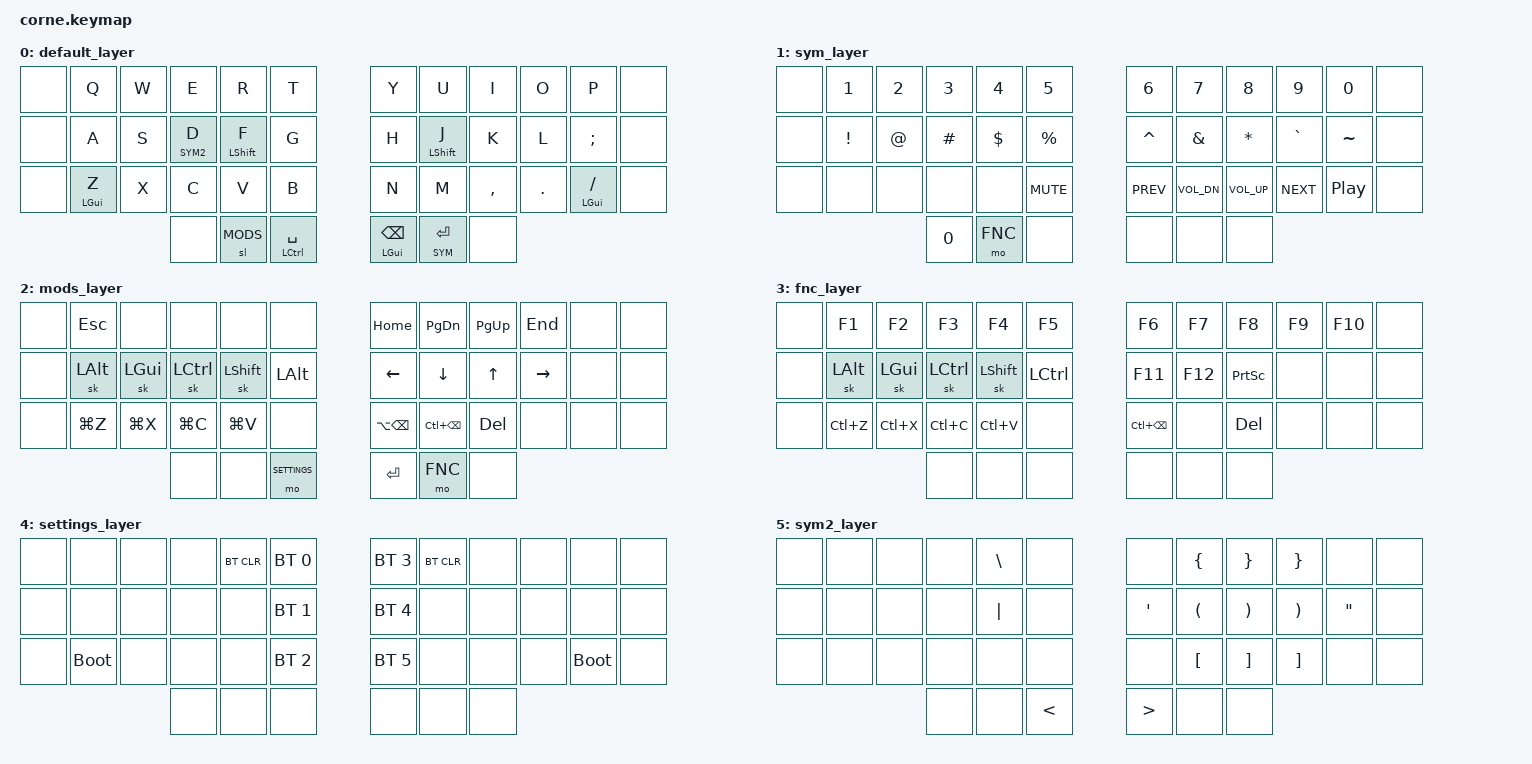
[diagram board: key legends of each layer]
/*
 * Copyright (c) 2020 The ZMK Contributors
 *
 * SPDX-License-Identifier: MIT
 */

#include <behaviors.dtsi>
#include <dt-bindings/zmk/keys.h>
#include <dt-bindings/zmk/bt.h>

#define COMBO(name, keypress, keypos) \
    combo_##name {                    \
        layers = <0>;                 \
        timeout-ms = <30>;            \
        bindings = <keypress>;        \
        key-positions = <keypos>;     \
    };

#define BASE 0
#define SYM 1
#define MODS 2
#define FNC 3
#define SETTINGS 4
#define SYM2 5

#define XXXXX &none
#define _____ &trans

#define TAPPING_TERM 210
#define QUICK_TAP    150

&mt {
  flavor = "balanced";
  tapping-term-ms = <TAPPING_TERM>;
  quick-tap-ms = <QUICK_TAP>;
};

&caps_word {
	continue-list = <UNDER MINUS BSPC RSHFT LSHFT>;
};

/ {        
        combos {
                compatible = "zmk,combos";

                COMBO(esc, &kp ESC, 1 2)
                COMBO(esc2, &kp ESC, 2 3)
                COMBO(tab, &kp TAB, 3 4)
                COMBO(caps, &caps_word, 13 14)
                COMBO(equal, &kp EQUAL, 15 16)
                COMBO(plus, &kp PLUS, 27 28)

                COMBO(under, &kp UNDER, 7 8)
                COMBO(minus, &kp MINUS, 8 9)
                COMBO(sqt, &kp SQT, 19 20)
                COMBO(dqt, &kp DQT, 20 21)
                COMBO(colon, &kp COLON, 31 32)
                COMBO(qmark, &kp QMARK, 32 33)
        };

        keymap {
                compatible = "zmk,keymap";

// Base alpha Layer
                default_layer {
                    bindings = <
XXXXX &kp Q      &kp W &kp E      &kp R        &kp T              &kp Y           &kp U         &kp I     &kp O   &kp P         XXXXX
XXXXX &kp A      &kp S &lt SYM2 D &mt LSHIFT F &kp G              &kp H           &mt LSHIFT J  &kp K     &kp L   &kp SEMI      XXXXX
XXXXX &mt LGUI Z &kp X &kp C      &kp V        &kp B              &kp N           &kp M         &kp COMMA &kp DOT &mt LGUI FSLH XXXXX
                       XXXXX      &sl MODS     &mt LCTRL SPACE    &mt LGUI BSPC &lt SYM ENTER XXXXX
                    >;
                };

// Numbers and high frequency symbols
                sym_layer {
                    bindings = <
XXXXX &kp N1   &kp N2 &kp N3   &kp N4   &kp N5        &kp N6     &kp N7       &kp N8       &kp N9     &kp N0    XXXXX
XXXXX &kp EXCL &kp AT &kp HASH &kp DLLR &kp PRCNT     &kp CARET  &kp AMPS     &kp STAR     &kp GRAVE  &kp TILDE XXXXX
XXXXX XXXXX    XXXXX  XXXXX    XXXXX    &kp C_MUTE    &kp C_PREV &kp C_VOL_DN &kp C_VOL_UP &kp C_NEXT &kp C_PP  XXXXX
                      &kp N0   &mo FNC  XXXXX         XXXXX      XXXXX        XXXXX
                    >;
                };

// Main modifiers and arrow keys and remaining symbols
		mods_layer {
		        bindings = <
XXXXX &kp ESC   XXXXX     XXXXX     XXXXX      XXXXX         &kp HOME     &kp PG_DN    &kp PG_UP &kp END   XXXXX XXXXX
XXXXX &sk LALT  &sk LGUI  &sk LCTRL &sk LSHIFT &kp LALT      &kp LEFT     &kp DOWN     &kp UP    &kp RIGHT XXXXX XXXXX
XXXXX &kp LG(Z) &kp LG(X) &kp LG(C) &kp LG(V)  XXXXX         &kp LA(BSPC) &kp LC(BSPC) &kp DEL   XXXXX     XXXXX XXXXX
                          XXXXX     XXXXX      &mo SETTINGS  &kp ENTER    &mo FNC      XXXXX
		        >;
		};

// Function keys with modifiers
       		fnc_layer {
		        bindings = <
XXXXX &kp F1    &kp F2    &kp F3    &kp F4     &kp F5         &kp F6       &kp F7   &kp F8          &kp F9 &kp F10 XXXXX
XXXXX &sk LALT  &sk LGUI  &sk LCTRL &sk LSHIFT &kp LCTRL      &kp F11      &kp F12  &kp PRINTSCREEN XXXXX  XXXXX   XXXXX
XXXXX &kp LC(Z) &kp LC(X) &kp LC(C) &kp LC(V)  XXXXX          &kp LC(BSPC) XXXXX    &kp DEL         XXXXX  XXXXX   XXXXX
                          XXXXX     XXXXX      XXXXX          XXXXX        XXXXX    XXXXX
		        >;
		};

// BT Settings
       		settings_layer {
		        bindings = <
XXXXX XXXXX       XXXXX XXXXX &bt BT_CLR &bt BT_SEL 0      &bt BT_SEL 3 &bt BT_CLR XXXXX XXXXX XXXXX       XXXXX
XXXXX XXXXX       XXXXX XXXXX XXXXX      &bt BT_SEL 1      &bt BT_SEL 4 XXXXX      XXXXX XXXXX XXXXX       XXXXX
XXXXX &bootloader XXXXX XXXXX XXXXX      &bt BT_SEL 2      &bt BT_SEL 5 XXXXX      XXXXX XXXXX &bootloader XXXXX
                        XXXXX XXXXX      XXXXX             XXXXX        XXXXX      XXXXX
		        >;
		};

    // Sym2 Layer
       		sym2_layer {
		        bindings = <
XXXXX XXXXX XXXXX XXXXX &kp BSLH XXXXX       XXXXX   &kp LBRC &kp RBRC &kp RBRC XXXXX   XXXXX
XXXXX XXXXX XXXXX XXXXX &kp PIPE XXXXX       &kp SQT &kp LPAR &kp RPAR &kp RPAR &kp DQT XXXXX
XXXXX XXXXX XXXXX XXXXX XXXXX    XXXXX       XXXXX   &kp LBKT &kp RBKT &kp RBKT XXXXX   XXXXX
                  XXXXX XXXXX    &kp LT      &kp GT  XXXXX    XXXXX
		        >;
		};
        };
};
